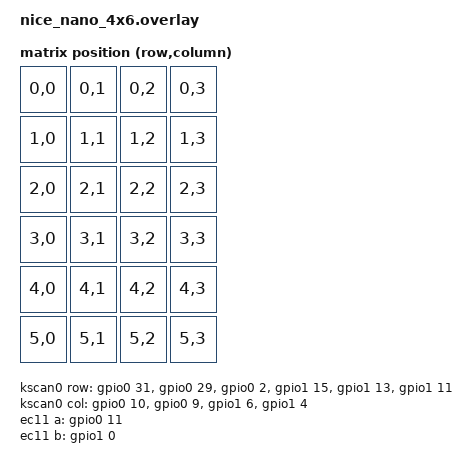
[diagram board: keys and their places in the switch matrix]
#include <dt-bindings/led/led.h>
#include <dt-bindings/zmk/matrix_transform.h>
#include <physical_layouts.dtsi>

/ {
    chosen {
        zmk,kscan = &kscan0;
        zmk,physical-layout = &physical_layout0;
        zmk,underglow = &led_strip;
    };

    default_transform: keymap_transform0 {
        compatible = "zmk,matrix-transform";
        columns = <4>;
        rows = <6>;
        map = <
            RC(0,0) RC(0,1) RC(0,2) RC(0,3)
            RC(1,0) RC(1,1) RC(1,2) RC(1,3)
            RC(2,0) RC(2,1) RC(2,2) RC(2,3)
            RC(3,0) RC(3,1) RC(3,2) RC(3,3)
            RC(4,0) RC(4,1) RC(4,2) RC(4,3)
            RC(5,0) RC(5,1) RC(5,2) RC(5,3)
        >;
    };

    physical_layout0: physical_layout_0 {
        compatible = "zmk,physical-layout";
        display-name = "Default Layout";
        transform = <&default_transform>;
        kscan = <&kscan0>;
        keys
            = <&key_physical_attrs 100 100   0   0   0   0   0>
            , <&key_physical_attrs 100 100 100   0   0   0   0>
            , <&key_physical_attrs 100 100 200   0   0   0   0>
            , <&key_physical_attrs 100 100 300   0   0   0   0>

            , <&key_physical_attrs 100 100   0 100   0   0   0>
            , <&key_physical_attrs 100 100 100 100   0   0   0>
            , <&key_physical_attrs 100 100 200 100   0   0   0>
            , <&key_physical_attrs 100 100 300 100   0   0   0>

            , <&key_physical_attrs 100 100   0 200   0   0   0>
            , <&key_physical_attrs 100 100 100 200   0   0   0>
            , <&key_physical_attrs 100 100 200 200   0   0   0>
            , <&key_physical_attrs 100 100 300 200   0   0   0>

            , <&key_physical_attrs 100 100   0 300   0   0   0>
            , <&key_physical_attrs 100 100 100 300   0   0   0>
            , <&key_physical_attrs 100 100 200 300   0   0   0>
            , <&key_physical_attrs 100 100 300 300   0   0   0>

            , <&key_physical_attrs 100 100   0 400   0   0   0>
            , <&key_physical_attrs 100 100 100 400   0   0   0>
            , <&key_physical_attrs 100 100 200 400   0   0   0>
            , <&key_physical_attrs 100 100 300 400   0   0   0>

            , <&key_physical_attrs 100 100   0 500   0   0   0>
            , <&key_physical_attrs 100 100 100 500   0   0   0>
            , <&key_physical_attrs 100 100 200 500   0   0   0>
            , <&key_physical_attrs 100 100 300 500   0   0   0>;
    };

    kscan0: kscan {
        compatible = "zmk,kscan-gpio-matrix";
        wakeup-source;
        diode-direction = "row2col";

        row-gpios = <
            &gpio0 31 (GPIO_ACTIVE_HIGH | GPIO_PULL_DOWN)
            &gpio0 29 (GPIO_ACTIVE_HIGH | GPIO_PULL_DOWN)
            &gpio0 2  (GPIO_ACTIVE_HIGH | GPIO_PULL_DOWN)
            &gpio1 15 (GPIO_ACTIVE_HIGH | GPIO_PULL_DOWN)
            &gpio1 13 (GPIO_ACTIVE_HIGH | GPIO_PULL_DOWN)
            &gpio1 11 (GPIO_ACTIVE_HIGH | GPIO_PULL_DOWN)
        >;

        col-gpios = <
            &gpio0 10 (GPIO_ACTIVE_HIGH)
            &gpio0 9  (GPIO_ACTIVE_HIGH)
            &gpio1 6  (GPIO_ACTIVE_HIGH)
            &gpio1 4  (GPIO_ACTIVE_HIGH)
        >;
    };

    ec11: encoder {
        compatible = "alps,ec11";
        a-gpios = <&gpio0 11 (GPIO_ACTIVE_HIGH | GPIO_PULL_UP)>;
        b-gpios = <&gpio1 0  (GPIO_ACTIVE_HIGH | GPIO_PULL_UP)>;
        steps = <24>;
        status = "okay";
    };

    sensors: sensors {
        compatible = "zmk,keymap-sensors";
        sensors = <&ec11>;
        triggers-per-rotation = <20>;
    };
};

&pinctrl {
    spi3_default: spi3_default {
        group1 {
            psels = <NRF_PSEL(SPIM_MOSI, 0, 22)>;
        };
    };

    spi3_sleep: spi3_sleep {
        group1 {
            psels = <NRF_PSEL(SPIM_MOSI, 0, 22)>;
            low-power-enable;
        };
    };
};

&spi3 {
    compatible = "nordic,nrf-spim";
    status = "okay";

    pinctrl-0 = <&spi3_default>;
    pinctrl-1 = <&spi3_sleep>;
    pinctrl-names = "default", "sleep";

    led_strip: ws2812@0 {
        compatible = "worldsemi,ws2812-spi";

        /* SPI */
        reg = <0>;
        spi-max-frequency = <4000000>;

        /* WS2812 */
        chain-length = <10>;
        spi-one-frame = <0x70>;
        spi-zero-frame = <0x40>;

        color-mapping = <LED_COLOR_ID_GREEN LED_COLOR_ID_RED LED_COLOR_ID_BLUE>;
    };
};
